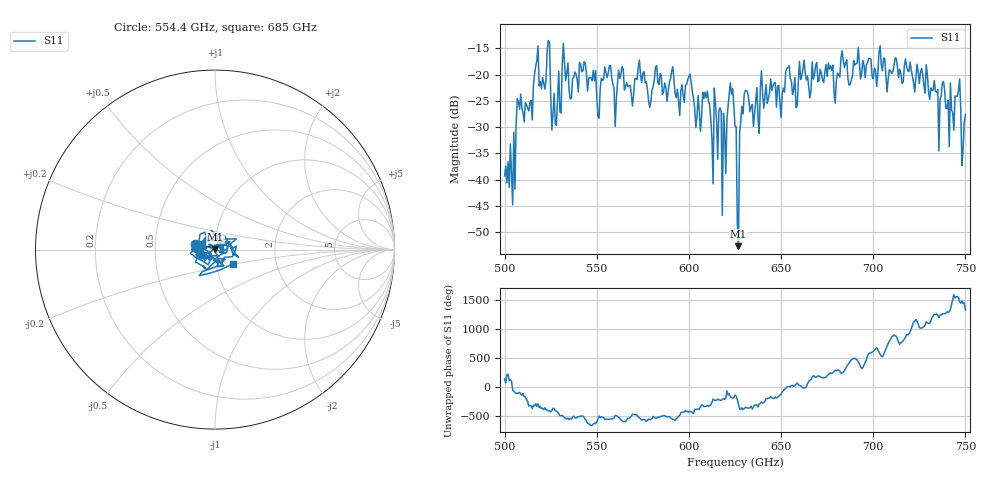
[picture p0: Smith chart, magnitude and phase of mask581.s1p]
!Created with skrf (http://scikit-rf.org).
# GHz S MA R 50.0
!freq magS11 angS11
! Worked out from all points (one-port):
!   401 points, 500 GHz to 750 GHz, reference 50 ohm
!   lowest |S11| = -52.6 dB at 626.9 GHz (marker M1), VSWR 1.00, Z = 50.1 + j0.219 ohm
!   |S11| at or under -10 dB: start of sweep to end of sweep
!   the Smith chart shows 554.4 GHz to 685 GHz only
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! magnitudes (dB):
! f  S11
! 500 GHz  -39.3
! 504.4 GHz  -44.8
! 507.5 GHz  -25.1
! 513.8 GHz  -25.3
! 516.9 GHz  -18.5
! 523.8 GHz  -13.5
! 526.9 GHz  -23.6
! 531.2 GHz  -18.2
! 542.5 GHz  -19.3
! 551.2 GHz  -28.3
! 562.5 GHz  -20.7
! 590.6 GHz  -19.4
! 593.8 GHz  -22.8
! 608.8 GHz  -23.3
! 619.4 GHz  -30.9
! 623.1 GHz  -23.7
! 625 GHz  -29.9
! 626.9 GHz  -52.6
! 628.8 GHz  -26.0
! 631.2 GHz  -23.0
! 656.2 GHz  -23.8
! 680 GHz  -21.1
! 683.8 GHz  -17.4
! 687.5 GHz  -21.9
! 718.8 GHz  -19.3
! 742.5 GHz  -26.7
! 745.6 GHz  -24.1
! 750 GHz  -27.6
